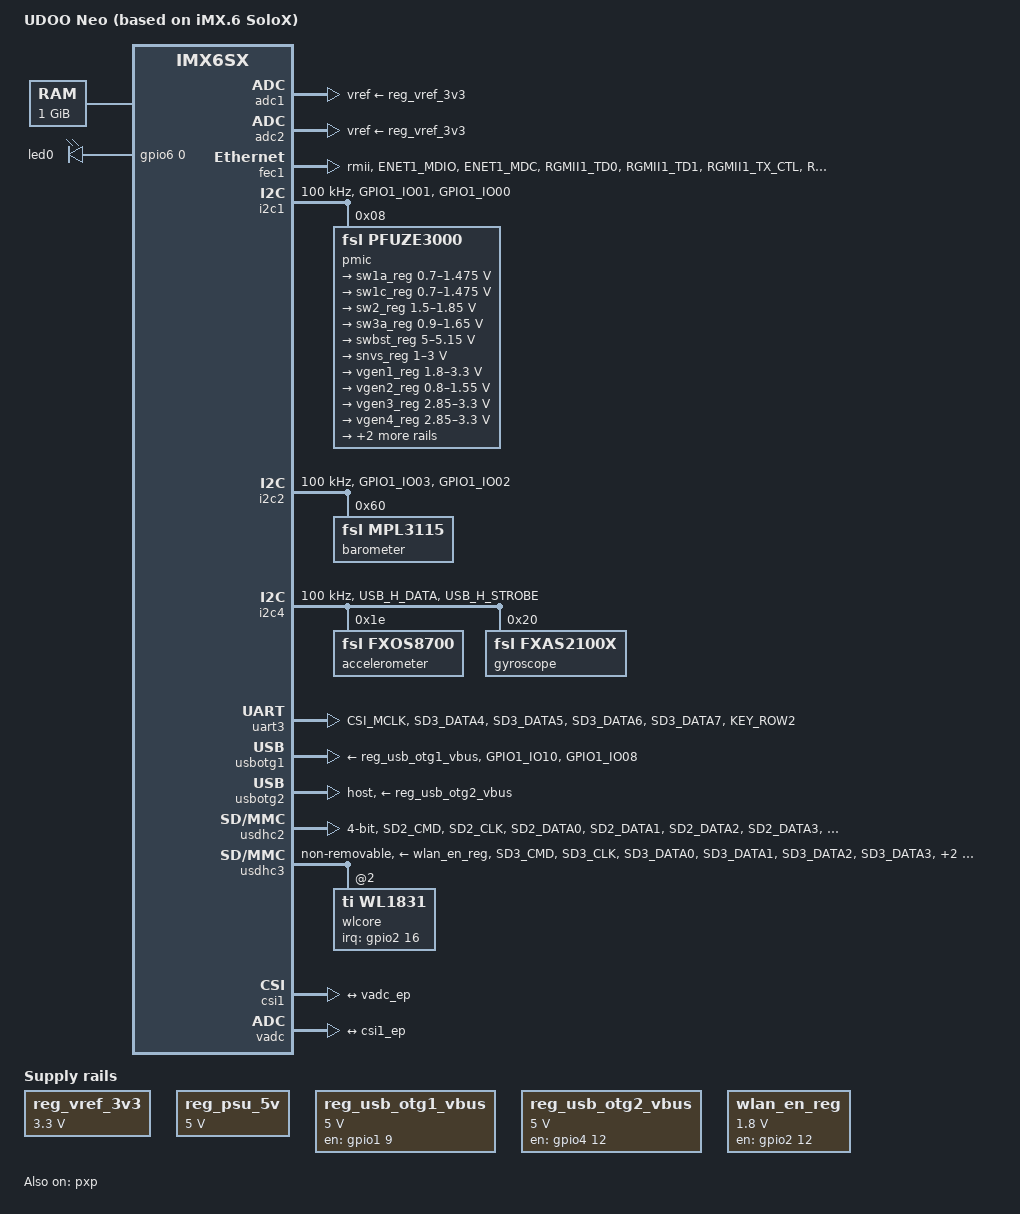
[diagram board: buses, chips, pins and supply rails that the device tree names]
/*
 * Copyright (C) 2015 Jasbir Matharu
 * Copyright (C) 2014-2015 Freescale Semiconductor, Inc.
 *
 * This program is free software; you can redistribute it and/or modify
 * it under the terms of the GNU General Public License version 2 as
 * published by the Free Software Foundation.
 */


#include <dt-bindings/gpio/gpio.h>
#include "imx6sx.dtsi"


/ {
	model = "UDOO Neo (based on iMX.6 SoloX)";
	compatible = "fsl,imx6sx-sdb", "fsl,imx6sx";

	memory {
		linux,usable-memory = <0x80000000 0x3f800000>;
		reg = <0x80000000 0x40000000>;
	};
	
	aliases {
		mmc0 = &usdhc2;
	};

	pxp_v4l2_out {
		compatible = "fsl,imx6sx-pxp-v4l2", "fsl,imx6sl-pxp-v4l2";
		status = "disabled";
	};

	regulators {
		compatible = "simple-bus";

		reg_vref_3v3: regulator@0 {
			compatible = "regulator-fixed";
			regulator-name = "vref-3v3";
			regulator-min-microvolt = <3300000>;
			regulator-max-microvolt = <3300000>;
		};

		reg_psu_5v: psu_5v0 {
			compatible = "regulator-fixed";
			regulator-name = "PSU-5V0";
			regulator-min-microvolt = <5000000>;
			regulator-max-microvolt = <5000000>;
			regulator-boot-on;
		};

		reg_usb_otg1_vbus: usb_otg1_vbus {
			compatible = "regulator-fixed";
			regulator-name = "usb_otg1_vbus";
			regulator-min-microvolt = <5000000>;
			regulator-max-microvolt = <5000000>;
			gpio = <&gpio1 9 1>;
			enable-active-high;
		};

		reg_usb_otg2_vbus: usb_otg2_vbus {
			compatible = "regulator-fixed";
			regulator-name = "usb_otg2_vbus";
			regulator-min-microvolt = <5000000>;
			regulator-max-microvolt = <5000000>;
			gpio = <&gpio4 12 1>;
			enable-active-high;
		};

		wlan_en_reg: fixedregulator@1 {
			compatible = "regulator-fixed";
			regulator-name = "wlan-en-regulator";
			regulator-min-microvolt = <1800000>;
			regulator-max-microvolt = <1800000>;

			/* WLAN_EN GPIO for this board - KEY_COL2  Bank2, pin12 */
			gpio = <&gpio2 12 0>;
			/* WLAN card specific delay */
			startup-delay-us = <70000>;
			enable-active-high;
		};

	};

	leds {
		compatible = "gpio-leds";

		led0: led0 {
			label = "led0";
			gpios = <&gpio6 0 0>;
			default-state = "off";
			linux,default-trigger = "mmc0";
		};
	};

	kim {
	        compatible = "kim";
	        nshutdown_gpio = <49>;  // GPIO2_17 The wl8 driver expects gpio to be an integer, so gpio2_17 is (2-1)*32+17=49
	        dev_name = "/dev/ttymxc2";
	        flow_cntrl = <1>;
	        baud_rate = <921600>;
	};

	btwilink {
	        compatible = "btwilink";
	};

	poweroff {
		compatible = "udoo,poweroff";
	};
};

&cpu0 {
	operating-points = <
		/* kHz    uV */
		996000  1250000
		792000  1175000
		396000  1175000
		198000	1175000
		>;
	fsl,soc-operating-points = <
		/* ARM kHz      SOC uV */
		996000	1250000
		792000	1175000
		396000	1175000
		198000	1175000
	>;
	arm-supply = <&sw1a_reg>;
	soc-supply = <&sw1a_reg>;
	fsl,arm-soc-shared = <1>;
};

&adc1 {
	vref-supply = <&reg_vref_3v3>;
	status = "okay";
};

&adc2 {
	vref-supply = <&reg_vref_3v3>;
	status = "okay";
};

&fec1 {
	pinctrl-names = "default";
	pinctrl-0 = <&pinctrl_enet1_2 &pinctrl_enet1_clkout_2>;
	phy-reset-gpios = <&gpio5 4 GPIO_ACTIVE_HIGH>;
	phy-mode = "rmii";
	fsl,num_tx_queues=<3>;
	fsl,num_rx_queues=<3>;
	status = "okay";
};

&gpc {
	/* use ldo-bypass, u-boot will check it and configure */
	fsl,ldo-bypass = <1>;
};


&i2c1 {
	clock-frequency = <100000>;
	pinctrl-names = "default";
	pinctrl-0 = <&pinctrl_i2c1_1>;
	pmic: pfuze3000@08 {
		compatible = "fsl,pfuze3000";
		reg = <0x08>;

		regulators {
			sw1a_reg: sw1a {
				regulator-min-microvolt = <700000>;
				regulator-max-microvolt = <1475000>;
				regulator-boot-on;
				regulator-always-on;
				regulator-ramp-delay = <6250>;
			};

			/* use sw1c_reg to align with pfuze100/pfuze200 */
			sw1c_reg: sw1b {
				regulator-min-microvolt = <700000>;
				regulator-max-microvolt = <1475000>;
				regulator-boot-on;
				regulator-always-on;
				regulator-ramp-delay = <6250>;
			};

			sw2_reg: sw2 {
				regulator-min-microvolt = <1500000>;
				regulator-max-microvolt = <1850000>;
				regulator-boot-on;
				regulator-always-on;
			};

			sw3a_reg: sw3 {
				regulator-min-microvolt = <900000>;
				regulator-max-microvolt = <1650000>;
				regulator-boot-on;
				regulator-always-on;
			};

			swbst_reg: swbst {
				regulator-min-microvolt = <5000000>;
				regulator-max-microvolt = <5150000>;
			};

			snvs_reg: vsnvs {
				regulator-min-microvolt = <1000000>;
				regulator-max-microvolt = <3000000>;
				regulator-boot-on;
				regulator-always-on;
			};

			vref_reg: vrefddr {
				regulator-boot-on;
				regulator-always-on;
			};

			vgen1_reg: vldo1 {
				regulator-min-microvolt = <1800000>;
				regulator-max-microvolt = <3300000>;
				regulator-always-on;
			};

			vgen2_reg: vldo2 {
				regulator-min-microvolt = <800000>;
				regulator-max-microvolt = <1550000>;
			};

			vgen3_reg: vccsd {
				regulator-min-microvolt = <2850000>;
				regulator-max-microvolt = <3300000>;
				regulator-always-on;
			};

			vgen4_reg: v33 {
				regulator-min-microvolt = <2850000>;
				regulator-max-microvolt = <3300000>;
				regulator-always-on;
			};

			vgen5_reg: vldo3 {
				regulator-min-microvolt = <1800000>;
				regulator-max-microvolt = <3300000>;
				regulator-always-on;
			};

			vgen6_reg: vldo4 {
				regulator-min-microvolt = <1800000>;
				regulator-max-microvolt = <3300000>;
				regulator-always-on;
			};
		};
	};
};

&i2c2 {
	clock-frequency = <100000>;
	pinctrl-names = "default";
	pinctrl-0 = <&pinctrl_i2c2_1>;

	barometer: mpl3115@60 {
		compatible = "fsl,mpl3115";
		reg = <0x60>;
	};
};


&i2c3 {
	clock-frequency = <100000>;
	pinctrl-names = "default";
	pinctrl-0 = <&pinctrl_i2c3_2>;
	status = "disabled";
};

&i2c4 {
	clock-frequency = <100000>;
	pinctrl-names = "default";
	pinctrl-0 = <&pinctrl_i2c4_1>;

	accelerometer: fxos8700@1e {
		compatible = "fsl,fxos8700";
		reg = <0x1e>;
	};

	gyroscope: fxas2100x@20 {
		compatible = "fsl,fxas2100x";
		reg = <0x20>;
	};
};


&iomuxc {
	pinctrl-names = "default";
	pinctrl-0 = <&pinctrl_hog &external_hog>;

	imx6x-udoo-neo {

		pinctrl_hog: hoggrp {
			fsl,pins = <

				MX6SX_PAD_SD1_CLK__GPIO6_IO_0       0x80000000 // LED

				MX6SX_PAD_SD1_CMD__GPIO6_IO_1       0x80000000 // USDHC2 PWR
				MX6SX_PAD_SD1_DATA0__GPIO6_IO_2     0x80000000 // USDHC2 CD

				MX6SX_PAD_NAND_CE0_B__GPIO4_IO_1    0x80000000 // Gyro interrupt
				MX6SX_PAD_NAND_WE_B__GPIO4_IO_14    0x80000000 // Mag interrupt
				MX6SX_PAD_QSPI1B_DATA2__GPIO4_IO_26 0x80000000 // Accel interupt

				// Multiplexer pins for GPIO/ADC (J5)
				MX6SX_PAD_RGMII2_TXC__GPIO5_IO_23     0x80000000 // MUX_A
				MX6SX_PAD_RGMII2_RX_CTL__GPIO5_IO_16  0x80000000 // MUX_B
				MX6SX_PAD_QSPI1A_SCLK__GPIO4_IO_21    0x80000000 // MUX_C
				MX6SX_PAD_QSPI1A_SS0_B__GPIO4_IO_22   0x80000000 // MUX_D
				MX6SX_PAD_QSPI1A_DATA2__GPIO4_IO_18   0x80000000 // MUX_E
				MX6SX_PAD_QSPI1A_DATA3__GPIO4_IO_19   0x80000000 // MUX_F
				
				// Model recognition GPIOs
				MX6SX_PAD_NAND_READY_B__GPIO4_IO_13	0x80000000		// Connected to R184
				MX6SX_PAD_NAND_ALE__GPIO4_IO_0		0x80000000		// Connected to R185	
			>;
		};

		pinctrl_audmux: audmuxgrp {
			fsl,pins = <
				MX6SX_PAD_KEY_COL0__AUDMUX_AUD5_TXC     0x130b0
				MX6SX_PAD_KEY_COL1__AUDMUX_AUD5_TXFS    0x130b0
				MX6SX_PAD_KEY_ROW0__AUDMUX_AUD5_TXD     0x120b0
			>;
		};

		pinctrl_uart3_1: uart3grp-1 {
			fsl,pins = <
				MX6SX_PAD_CSI_MCLK__OSC32K_32K_OUT	0x10059
				MX6SX_PAD_SD3_DATA4__UART3_RX		0x13059
				MX6SX_PAD_SD3_DATA5__UART3_TX		0x13059
				MX6SX_PAD_SD3_DATA6__UART3_RTS_B	0x13059
				MX6SX_PAD_SD3_DATA7__UART3_CTS_B	0x13059
				MX6SX_PAD_KEY_ROW2__GPIO2_IO_17		0x15059
			>;
		};

		pinctrl_usbotg1_1: usbotg1grp-1 {
			fsl,pins = <
				MX6SX_PAD_GPIO1_IO10__ANATOP_OTG1_ID	0x17059
				MX6SX_PAD_GPIO1_IO08__USB_OTG1_OC	0x17059
			>;
		};

		pinctrl_enet1_2: enet1grp-2 {
			fsl,pins = <
				MX6SX_PAD_ENET1_MDIO__ENET1_MDIO        0xa0b1
				MX6SX_PAD_ENET1_MDC__ENET1_MDC          0xa0b1
				MX6SX_PAD_RGMII1_TD0__ENET1_TX_DATA_0   0xa0b1
				MX6SX_PAD_RGMII1_TD1__ENET1_TX_DATA_1   0xa0b1
				MX6SX_PAD_RGMII1_TX_CTL__ENET1_TX_EN    0xa0b1
				MX6SX_PAD_RGMII1_RXC__ENET1_RX_ER   	0x3081
				MX6SX_PAD_ENET1_TX_CLK__ENET1_REF_CLK1  0x3081
				MX6SX_PAD_RGMII1_RD0__ENET1_RX_DATA_0   0x3081
				MX6SX_PAD_RGMII1_RD1__ENET1_RX_DATA_1   0x3081
				MX6SX_PAD_RGMII1_RX_CTL__ENET1_RX_EN    0x3081
				MX6SX_PAD_ENET2_TX_CLK__GPIO2_IO_9	0x3081
			>;
		};

		pinctrl_enet1_clkout_2: enet1_clkoutgrp-2 {
			fsl,pins = <
				MX6SX_PAD_ENET2_RX_CLK__ENET2_REF_CLK_25M	0x91
			>;
		};

		pinctrl_usdhc2_1: usdhc2grp-1 {
			fsl,pins = <
				MX6SX_PAD_SD2_CMD__USDHC2_CMD		0x17059
				MX6SX_PAD_SD2_CLK__USDHC2_CLK		0x10059
				MX6SX_PAD_SD2_DATA0__USDHC2_DATA0	0x17059
				MX6SX_PAD_SD2_DATA1__USDHC2_DATA1	0x17059
				MX6SX_PAD_SD2_DATA2__USDHC2_DATA2	0x17059
				MX6SX_PAD_SD2_DATA3__USDHC2_DATA3	0x17059
			>;
		};

		pinctrl_usdhc3_wifi: usdhc3grp-wifi {
			fsl,pins = <
				MX6SX_PAD_SD3_CMD__USDHC3_CMD		0x17069
				MX6SX_PAD_SD3_CLK__USDHC3_CLK		0x10069
				MX6SX_PAD_SD3_DATA0__USDHC3_DATA0	0x17069
				MX6SX_PAD_SD3_DATA1__USDHC3_DATA1	0x17069
				MX6SX_PAD_SD3_DATA2__USDHC3_DATA2	0x17069
				MX6SX_PAD_SD3_DATA3__USDHC3_DATA3	0x17069
				MX6SX_PAD_KEY_COL2__GPIO2_IO_12		0x15059
				MX6SX_PAD_KEY_ROW1__GPIO2_IO_16		0x13059
			>;
		};

		pinctrl_i2c1_1: i2c1grp-1 {
			fsl,pins = <
				MX6SX_PAD_GPIO1_IO01__I2C1_SDA          0x4001b8b1
				MX6SX_PAD_GPIO1_IO00__I2C1_SCL          0x4001b8b1
			>;
		};

		pinctrl_i2c2_1: i2c2grp-1 {
			fsl,pins = <
				MX6SX_PAD_GPIO1_IO03__I2C2_SDA          0x4001b8b1
				MX6SX_PAD_GPIO1_IO02__I2C2_SCL          0x4001b8b1
			>;
		};

		pinctrl_i2c3_2: i2c3grp-2 {
			fsl,pins = <
				MX6SX_PAD_KEY_ROW4__I2C3_SDA            0x4001b8b1
				MX6SX_PAD_KEY_COL4__I2C3_SCL            0x4001b8b1
			>;
		};

		pinctrl_i2c4_1: i2c4grp-1 {
			fsl,pins = <
				MX6SX_PAD_USB_H_DATA__I2C4_SDA			0x4001b8b1
				MX6SX_PAD_USB_H_STROBE__I2C4_SCL		0x4001b8b1
			>;
		};

		pinctrl_lcdif_dat_0: lcdifdatgrp {
			fsl,pins = <
				MX6SX_PAD_LCD1_DATA00__LCDIF1_DATA_0 0x4001b0b0
				MX6SX_PAD_LCD1_DATA01__LCDIF1_DATA_1 0x4001b0b0
				MX6SX_PAD_LCD1_DATA02__LCDIF1_DATA_2 0x4001b0b0
				MX6SX_PAD_LCD1_DATA03__LCDIF1_DATA_3 0x4001b0b0
				MX6SX_PAD_LCD1_DATA04__LCDIF1_DATA_4 0x4001b0b0
				MX6SX_PAD_LCD1_DATA05__LCDIF1_DATA_5 0x4001b0b0
				MX6SX_PAD_LCD1_DATA06__LCDIF1_DATA_6 0x4001b0b0
				MX6SX_PAD_LCD1_DATA07__LCDIF1_DATA_7 0x4001b0b0
				MX6SX_PAD_LCD1_DATA08__LCDIF1_DATA_8 0x4001b0b0
				MX6SX_PAD_LCD1_DATA09__LCDIF1_DATA_9 0x4001b0b0
				MX6SX_PAD_LCD1_DATA10__LCDIF1_DATA_10 0x4001b0b0
				MX6SX_PAD_LCD1_DATA11__LCDIF1_DATA_11 0x4001b0b0
				MX6SX_PAD_LCD1_DATA12__LCDIF1_DATA_12 0x4001b0b0
				MX6SX_PAD_LCD1_DATA13__LCDIF1_DATA_13 0x4001b0b0
				MX6SX_PAD_LCD1_DATA14__LCDIF1_DATA_14 0x4001b0b0
				MX6SX_PAD_LCD1_DATA15__LCDIF1_DATA_15 0x4001b0b0
				MX6SX_PAD_LCD1_DATA16__LCDIF1_DATA_16 0x4001b0b0
				MX6SX_PAD_LCD1_DATA17__LCDIF1_DATA_17 0x4001b0b0
				MX6SX_PAD_LCD1_DATA18__LCDIF1_DATA_18 0x4001b0b0
				MX6SX_PAD_LCD1_DATA19__LCDIF1_DATA_19 0x4001b0b0
				MX6SX_PAD_LCD1_DATA20__LCDIF1_DATA_20 0x4001b0b0
				MX6SX_PAD_LCD1_DATA21__LCDIF1_DATA_21 0x4001b0b0
				MX6SX_PAD_LCD1_DATA22__LCDIF1_DATA_22 0x4001b0b0
				MX6SX_PAD_LCD1_DATA23__LCDIF1_DATA_23 0x4001b0b0
			>;
		};

		pinctrl_lcdif_ctrl_0: lcdifctrlgrp {
			fsl,pins = <
				MX6SX_PAD_LCD1_CLK__LCDIF1_CLK	0x4001b0b0
				MX6SX_PAD_LCD1_ENABLE__LCDIF1_ENABLE 0x4001b0b0
				MX6SX_PAD_LCD1_VSYNC__LCDIF1_VSYNC 0x4001b0b0
				MX6SX_PAD_LCD1_HSYNC__LCDIF1_HSYNC 0x4001b0b0
				MX6SX_PAD_LCD1_RESET__GPIO3_IO_27  0x80000000
			>;
		};

		pinctrl_ldb_0: ldbctrlgrp-0 {
			fsl,pins = <
				MX6SX_PAD_SD1_DATA1__GPIO6_IO_3  	0x80000000	// BL_ON
				MX6SX_PAD_QSPI1B_DATA3__GPIO4_IO_27	0x80000000	// PANEL_ON
			>;
		};

		pinctrl_st1232: st1232grp-0 {
			fsl,pins = <
				MX6SX_PAD_SD1_DATA2__GPIO6_IO_4  	0x80000000	// TOUCH_INT
				MX6SX_PAD_SD1_DATA3__GPIO6_IO_5  	0x80000000	// TOUCH_RST
			>;
		};

	};
};

&uart3 { /* for bluetooth */
	pinctrl-names = "default";
	pinctrl-0 = <&pinctrl_uart3_1>;
	fsl,uart-has-rtscts;
	status = "okay";
};

&usbotg1 {
	vbus-supply = <&reg_usb_otg1_vbus>;
	pinctrl-names = "default";
	pinctrl-0 = <&pinctrl_usbotg1_1>;
	imx6-usb-charger-detection;
	status = "okay";
};

&usbotg2 {
	vbus-supply = <&reg_usb_otg2_vbus>;
	dr_mode = "host";
	status = "okay";
};

&usdhc2 {
	pinctrl-names = "default";
	pinctrl-0 = <&pinctrl_usdhc2_1>;
	no-1-8-v;
	bus-width = <4>;
	cd-gpios = <&gpio6 2 0>;
	keep-power-in-suspend;
	enable-sdio-wakeup;
	status = "okay";
};

&usdhc3 { /* WiFi */
	pinctrl-names = "default";
	pinctrl-0 = <&pinctrl_usdhc3_wifi>;
	enable-sdio-wakeup;
	non-removable;	// non-removable is not a variable, the fact it is listed is all that is used by driver
	vmmc-supply = <&wlan_en_reg>;
	cap-power-off-card;
	keep-power-in-suspend;
	status = "okay";
	#address-cells = <1>;
	#size-cells = <0>;
	wlcore: wlcore@0 {
		compatible = "ti,wl1831";
		reg = <2>;
		interrupt-parent = <&gpio2>;
		interrupts = <16 IRQ_TYPE_EDGE_RISING>;
		ref-clock-frequency = <38400000>;
		tcxo-clock-frequency = <26000000>;
	};
};

&pxp {
	status = "okay";
};

&csi1 {
	status = "okay";
	port {
		csi1_ep: endpoint {
			remote-endpoint = <&vadc_ep>;
		};
	};
};

&vadc {
	vadc_in = <0>;
	csi_id = <0>;
	status = "okay";
	port {
		vadc_ep: endpoint {
			remote-endpoint = <&csi1_ep>;
		};
	};
};

#include "imx6sx-udoo-neo-externalpins.dtsi"
